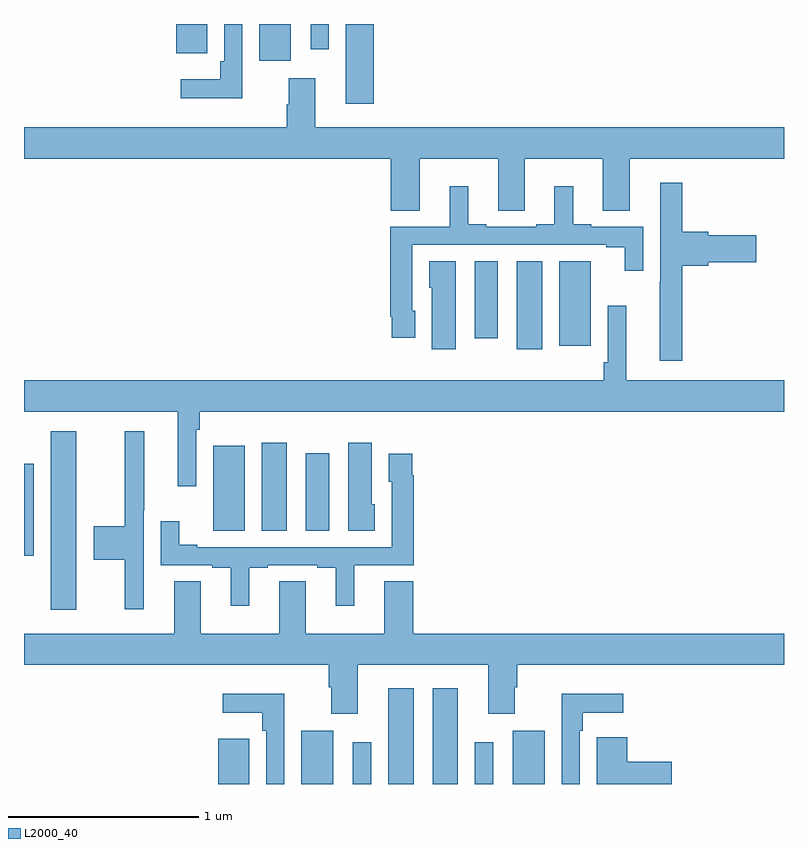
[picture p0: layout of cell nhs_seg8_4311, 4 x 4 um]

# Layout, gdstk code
import gdstk
lib = gdstk.Library(unit=1e-6, precision=1e-09)
def R(c, l, rs):  # rectangles x0, y0, x1, y1
    for r in rs: c.add(gdstk.rectangle(r[:2], r[2:], *l))
def P(c, l, *ps):  # polygons
    for p in ps: c.add(gdstk.Polygon(p, *l))
L2000_40 = (2000, 40)

nhs_seg8_4311 = lib.new_cell('nhs_seg8_4311')
R(nhs_seg8_4311, L2000_40, [(376.022,1087.9,376.186,1088.137), (376.46,1087.9,376.627,1088.179), (376.731,1087.9,376.827,1088.119), (376.916,1087.9,377.05,1088.404), (377.15,1087.9,377.284,1088.404), (377.373,1087.9,377.469,1088.119), (377.573,1087.9,377.74,1088.179), (375.14,1088.817,375.274,1089.757), (375,1089.102,375.051,1089.585), (375.995,1089.232,376.162,1089.679), (376.25,1089.232,376.384,1089.697), (376.484,1089.232,376.606,1089.64), (377.594,1090.188,377.728,1090.652), (377.816,1090.206,377.983,1090.652), (377.372,1090.245,377.494,1090.652), (376.694,1091.481,376.841,1091.9), (376.238,1091.706,376.405,1091.9), (375.8,1091.747,375.964,1091.9), (376.509,1091.766,376.605,1091.9)])
P(nhs_seg8_4311, L2000_40, [(376.149,1091.9),(376.053,1091.9),(376.053,1091.704),(376.033,1091.704),(376.033,1091.608),(375.825,1091.608),(375.825,1091.51),(376.149,1091.51)],
  [(377.083,1091.192),(377.495,1091.192),(377.495,1090.918),(377.635,1090.918),(377.635,1091.192),(378.047,1091.192),(378.047,1090.918),(378.187,1090.918),(378.187,1091.192),(379,1091.192),(379,1091.356),(376.534,1091.356),(376.534,1091.614),(376.394,1091.614),(376.394,1091.477),(376.382,1091.477),(376.382,1091.356),(375,1091.356),(375,1091.192),(376.931,1091.192),(376.931,1090.918),(377.083,1090.918)],
  [(378.464,1090.628),(378.6,1090.628),(378.6,1090.646),(378.853,1090.646),(378.853,1090.788),(378.6,1090.788),(378.6,1090.806),(378.464,1090.806),(378.464,1091.065),(378.348,1091.065),(378.348,1090.544),(378.347,1090.544),(378.347,1090.128),(378.464,1090.128)],
  [(377.059,1090.392),(377.043,1090.392),(377.043,1090.737),(378.065,1090.737),(378.065,1090.725),(378.161,1090.725),(378.161,1090.602),(378.258,1090.602),(378.258,1090.833),(377.986,1090.833),(377.986,1090.846),(377.89,1090.846),(377.89,1091.047),(377.792,1091.047),(377.792,1090.846),(377.696,1090.846),(377.696,1090.833),(377.434,1090.833),(377.434,1090.846),(377.338,1090.846),(377.338,1091.047),(377.24,1091.047),(377.24,1090.833),(376.927,1090.833),(376.927,1090.36),(376.935,1090.36),(376.935,1090.248),(377.059,1090.248)],
  [(377.272,1090.652),(377.132,1090.652),(377.132,1090.512),(377.147,1090.512),(377.147,1090.188),(377.272,1090.188)],
  [(375.906,1089.764),(375.926,1089.764),(375.926,1089.86),(379,1089.86),(379,1090.024),(378.17,1090.024),(378.17,1090.417),(378.072,1090.417),(378.072,1090.12),(378.052,1090.12),(378.052,1090.024),(375,1090.024),(375,1089.86),(375.809,1089.86),(375.809,1089.468),(375.906,1089.468)],
  [(375.63,1089.34),(375.632,1089.34),(375.632,1089.757),(375.529,1089.757),(375.529,1089.257),(375.366,1089.257),(375.366,1089.079),(375.529,1089.079),(375.529,1088.82),(375.63,1088.82)],
  [(376.846,1089.372),(376.831,1089.372),(376.831,1089.697),(376.706,1089.697),(376.706,1089.232),(376.846,1089.232)],
  [(376.186,1089.039),(376.282,1089.039),(376.282,1089.051),(376.544,1089.051),(376.544,1089.039),(376.64,1089.039),(376.64,1088.838),(376.738,1088.838),(376.738,1089.051),(377.051,1089.051),(377.051,1089.524),(377.044,1089.524),(377.044,1089.637),(376.919,1089.637),(376.919,1089.492),(376.935,1089.492),(376.935,1089.147),(375.913,1089.147),(375.913,1089.16),(375.817,1089.16),(375.817,1089.283),(375.72,1089.283),(375.72,1089.051),(375.992,1089.051),(375.992,1089.039),(376.088,1089.039),(376.088,1088.838),(376.186,1088.838)],
  [(376.756,1088.528),(377.444,1088.528),(377.444,1088.271),(377.584,1088.271),(377.584,1088.408),(377.597,1088.408),(377.597,1088.528),(379,1088.528),(379,1088.692),(377.048,1088.692),(377.048,1088.966),(376.895,1088.966),(376.895,1088.692),(376.483,1088.692),(376.483,1088.966),(376.343,1088.966),(376.343,1088.692),(375.931,1088.692),(375.931,1088.966),(375.791,1088.966),(375.791,1088.692),(375,1088.692),(375,1088.528),(376.604,1088.528),(376.604,1088.408),(376.616,1088.408),(376.616,1088.271),(376.756,1088.271)],
  [(377.925,1088.18),(377.941,1088.18),(377.941,1088.276),(378.154,1088.276),(378.154,1088.374),(377.829,1088.374),(377.829,1087.9),(377.925,1087.9)],
  [(376.371,1088.374),(376.047,1088.374),(376.047,1088.276),(376.255,1088.276),(376.255,1088.18),(376.275,1088.18),(376.275,1087.9),(376.371,1087.9)],
  [(378.409,1088.018),(378.176,1088.018),(378.176,1088.146),(378.015,1088.146),(378.015,1088.033),(378.014,1088.033),(378.014,1087.9),(378.409,1087.9)])

lib.write_gds('nhs_seg8_4311.gds')
